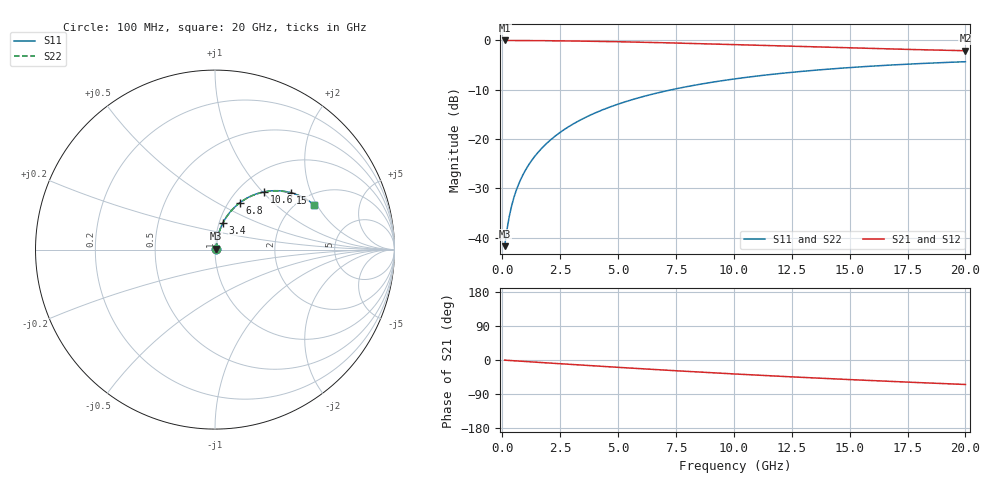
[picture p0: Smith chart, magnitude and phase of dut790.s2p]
! Touchstone file exported from HFSS 2026.1.0
!  File:  C:/ffzhzh/LocalFiles/Ansys_Project_Files/temp_train_BSMRDL_790_1783169518_43440.aedt
!  Generated:  08:53:25 PM Jul  4, 2026
!  Design:  BSMRDL
!  Project:  temp_train_BSMRDL_790_1783169518_43440
! Variables:
!  h_bsmrdl = 2.86um
!  h_ox = 20um
!  h_rdl = 5um
!  h_sub = 80um
!  h_tmrdl = 5um
!  h_tsv = 80um
!  h_via = 3um
!  l_bsmrdl = 973.55um
!  l_sub = 1373.55um
!  l_tmrdl = 200um
!  m_sub = 200um
!  pitch = 57.97um
!  r_tsv = 6um
!  s_tmrdl = 10um
!  w_bsmrdl = 18.83um
!  w_sub = 500um
!  w_tmrdl = 12um
!  x_tsv_center1 = 206um
!  x_tsv_center2 = 1198.38um
!  x_tsv_center3 = 1410.38um
!  x_tsv_center4 = 2402.76um
!  x_tsv_center5 = 2614.76um
!  x_tsv_center6 = 3607.14um
# GHz S MA R 50.000000
! Terminal data exported
! Port[1] = BSM_RDL1_1_T1
! Port[2] = BSM_RDL1_1_T2
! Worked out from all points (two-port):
!   200 points, 100 MHz to 20 GHz, reference 50 ohm
!   highest |S21| = -0.06 dB at 100 MHz (marker M1); lowest = -2.1 dB at 20 GHz (marker M2)
!   |S21| within 3 dB of the highest: start of sweep to end of sweep
!   lowest |S11| = -41.7 dB at 100 MHz (marker M3), VSWR 1.02, Z = 50.7 + j0.504 ohm
!   |S11| at or under -10 dB: start of sweep to 7.345 GHz
!   |S22| runs from -41.7 to -4.4 dB; largest |S21 - S12| = 3.2e-15
!   S11 on the Smith chart (normalised r, x): 100 MHz: 1.01, +0.01; 3.4 GHz: 1.04, +0.32; 6.8 GHz: 1.13, +0.65; 10.6 GHz: 1.30, +1.02; 15 GHz: 1.66, +1.46; 20 GHz: 2.40, +1.89
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0.1  0.008209 37.3  0.9935 -0.4  0.9935 -0.4  0.008209 37.3
! Gamma 0 0 0 0
! Port Impedance 50 0 50 0
0.2  0.012 55.5  0.9933 -0.8  0.9933 -0.8  0.012 55.5
0.3  0.01638 64.0  0.993 -1.2  0.993 -1.2  0.01638 64.0
0.4  0.0209 68.6  0.9927 -1.6  0.9927 -1.6  0.0209 68.5
0.5  0.02545 71.3  0.9924 -2.0  0.9924 -2.0  0.02545 71.3
0.6  0.03001 73.2  0.9921 -2.4  0.9921 -2.4  0.03001 73.2
0.8  0.03913 75.4  0.9915 -3.2  0.9915 -3.2  0.03913 75.4
1.1  0.05284 76.9  0.9906 -4.4  0.9906 -4.4  0.05284 76.9
1.5  0.07114 77.4  0.9892 -6.0  0.9892 -6.0  0.07114 77.4
2  0.09397 76.9  0.9871 -7.9  0.9871 -7.9  0.09397 76.9
2.6  0.1211 75.6  0.9839 -10.2  0.9839 -10.2  0.1212 75.6
3.4  0.1568 73.4  0.9786 -13.3  0.9786 -13.3  0.1568 73.3
3.5  0.1612 73.1  0.9778 -13.7  0.9778 -13.7  0.1612 73.0
5  0.2251 68.1  0.9644 -19.4  0.9644 -19.4  0.2252 68.1
6.8  0.2961 62.0  0.9442 -25.9  0.9442 -25.9  0.2962 61.9
8.3  0.3498 57.0  0.925 -31.1  0.925 -31.1  0.3499 56.9
10.1  0.4074 51.2  0.9006 -37.1  0.9006 -37.1  0.4074 51.1
10.6  0.4221 49.7  0.8938 -38.7  0.8938 -38.7  0.4221 49.5
13.4  0.494 41.4  0.8558 -47.2  0.8558 -47.2  0.4941 41.2
15  0.5279 37.0  0.8354 -51.7  0.8354 -51.7  0.528 36.7
16.7  0.5588 32.5  0.8153 -56.3  0.8153 -56.3  0.5589 32.2
20  0.6052 24.3  0.7821 -64.6  0.7821 -64.6  0.6054 24.0
